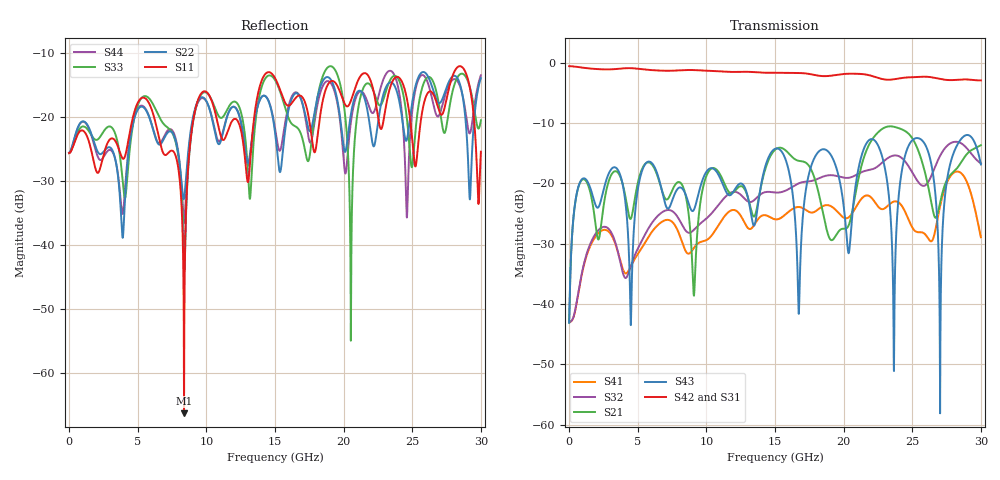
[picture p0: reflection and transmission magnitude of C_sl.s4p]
!diffpair-meanders C_sl (stripline: sparse tuning next to the bend), mesh medium
!ports 1 P_near 2 N_near 3 P_far 4 N_far; openEMS FDTD, lumped 50 ohm ports
# Hz S RI R 50.0
! Port[1] = P_near
! Port[2] = N_near
! Port[3] = P_far
! Port[4] = N_far
!freq ReS11 ImS11 ReS12 ImS12 ReS13 ImS13
! ReS14 ImS14
! ReS21 ImS21 ReS22 ImS22 ReS23 ImS23
! ReS24 ImS24
! ReS31 ImS31 ReS32 ImS32 ReS33 ImS33
! ReS34 ImS34
! ReS41 ImS41 ReS42 ImS42 ReS43 ImS43
! ReS44 ImS44
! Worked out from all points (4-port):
!   3000 points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, 10 MHz to 30 GHz, reference 50 ohm
!   strongest paths, dB at 10 MHz, 7.51 GHz, 15.01 GHz, 22.51 GHz, 30 GHz:
!     S42: -0.6, -1.3, -1.7, -2.5, -2.9
!     S31: -0.6, -1.4, -1.7, -2.3, -2.6
!     S43: -43.1, -22.9, -14.3, -13.7, -16.9
!     S21: -43.1, -21.2, -14.4, -11.5, -13.7
!     S32: -43.0, -24.6, -21.5, -17.1, -16.7
!     S41: -43.0, -26.4, -25.9, -23.8, -28.9
!   lowest |S11| = -66.2 dB at 8.38 GHz (marker M1), VSWR 1.00, Z = 50 + j0.0353 ohm
!   |S11| at or under -10 dB: start of sweep to end of sweep
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1e7  -0.052 0.00184  0.00685 0.00156  0.9359 -0.0127  0.00711 -0.000322
     0.00685 0.00156  -0.0524 0.00204  0.00711 -0.000323  0.9353 -0.013
     0.9359 -0.0127  0.00711 -0.000323  -0.052 0.00185  0.00685 0.00157
     0.00711 -0.000322  0.9353 -0.013  0.00685 0.00157  -0.0524 0.00204
2.25e9  0.0285 0.0266  0.0327 0.0192  -0.8757 -0.1174  0.0372 0.0139
        0.0327 0.0192  0.05 0.0105  0.0397 0.0139  -0.8795 -0.0698
        -0.8757 -0.1174  0.0397 0.0139  0.0627 0.0292  0.064 0.0212
        0.0372 0.0139  -0.8795 -0.0698  0.064 0.0212  0.045 0.00986
8.38e9  0.000338 0.000352  0.0757 -0.0466  0.1255 0.8605  -0.000669 -0.0293
        0.0757 -0.0466  0.0136 0.0186  -0.00405 -0.0424  0.3032 0.8129
        0.1255 0.8605  -0.00401 -0.0423  -0.000953 -0.00738  0.0862 -0.00537
        -0.000705 -0.0294  0.3032 0.8129  0.0862 -0.00539  0.0106 0.0103
1.041e10  0.1207 0.0522  0.1256 0.0449  0.263 -0.8186  -0.00798 0.0363
          0.1256 0.0449  0.0945 0.0244  -0.0117 0.0558  0.0431 -0.8525
          0.2631 -0.8187  -0.0117 0.0557  0.1145 0.0689  0.1333 0.0118
          -0.00797 0.0364  0.0431 -0.8526  0.1332 0.0118  0.0946 0.0303
1.301e10  0.0178 0.0255  0.0775 -0.00725  0.00307 0.8373  -0.00605 -0.0423
          0.0775 -0.00729  0.0349 0.0267  -0.0114 -0.0704  0.2703 0.7955
          0.00301 0.8369  -0.0113 -0.0702  0.0199 -0.0356  0.0756 -0.0205
          -0.00611 -0.0425  0.2703 0.7955  0.0757 -0.0205  0.0341 0.0247
1.505e10  0.1791 0.0799  0.1839 0.0548  0.3457 -0.7477  -0.00536 0.0498
          0.1836 0.0551  0.0688 0.00828  -0.0163 0.0826  0.0485 -0.8234
          0.3459 -0.7478  -0.0162 0.0824  0.1651 0.0933  0.1942 0.00788
          -0.00543 0.05  0.0485 -0.8235  0.194 0.00816  0.0729 0.0227
3e10  -0.0067 0.0529  0.206 0.00597  -0.3906 -0.6272  0.0208 -0.0291
      0.207 0.00532  0.0582 0.1911  0.1293 0.0703  -0.6802 -0.2124
      -0.3916 -0.627  0.1286 0.0699  0.044 0.0828  0.0369 -0.138
      0.0211 -0.0289  -0.6805 -0.2116  0.0372 -0.1386  0.0903 0.1898
